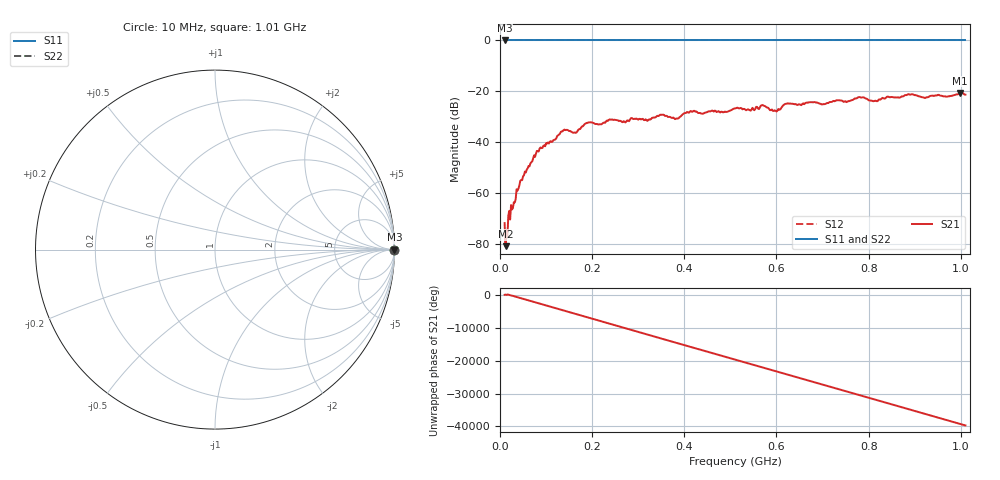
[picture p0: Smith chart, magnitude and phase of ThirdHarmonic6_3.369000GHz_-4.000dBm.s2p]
! 8/17/2025 10:40:45 AM
! C:\ANRITSUVNA\TEMP\TEMP.S2P
! CHANNEL.1
! TR.MEASUREMENT
! RAW.DATA
! RF.CORRECTION.OFF
! AVERAGING.OFF
! IF.BANDWIDTH: 5KHZ
! SWEEPTYPE:  FREQ.SWEEP(Linear)
! Reference Plane Port Info
! PORT:  PORT1  PORT2
! DISTANCE:  0  m  0  m
! TIME:  0  s  0  s
! PHASE.OFFSET:  0  deg.  0  deg.
! LOSS:  0  dB  0  dB
! REF.LOSS:  0  dB  0  dB
! REF.FREQ:  0  Hz  0  Hz
! Power Info
! POWER:  -20  dBm  -20  dBm
! EFF.POWER:  -20  dBm  -20  dBm
! SOURCE.ATTEN:  0  dB  0  dB
! TEST.ATTEN:  0  dB  0  dB
# GHZ S RI R 50.0
! FREQ.GHZ  S11RE  S11IM  S21RE  S21IM  S12RE  S12IM  S22RE  S22IM
!; PortSelection: Port_12
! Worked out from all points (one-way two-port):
!   501 points, 10 MHz to 1.01 GHz, reference 50 ohm
!   highest |S21| = -20.65 dB at 998 MHz (marker M1); lowest = -80.9 dB at 12 MHz (marker M2)
!   lowest |S11| = 0.0 dB at 10 MHz (marker M3)
!   |S11| at or under -10 dB: nowhere
!   |S22| runs from 0.0 to 0.0 dB; largest |S21 - S12| = 1.1
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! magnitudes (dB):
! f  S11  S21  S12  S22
! 10 MHz  0.0  -71.8  0.0  0.0
! 12 MHz  0.0  -80.9  0.0  0.0
! 16 MHz  0.0  -77.5  0.0  0.0
! 22 MHz  0.0  -70.4  0.0  0.0
! 30 MHz  0.0  -63.6  0.0  0.0
! 40 MHz  0.0  -58.2  0.0  0.0
! 78 MHz  0.0  -44.5  0.0  0.0
! 136 MHz  0.0  -35.7  0.0  0.0
! 162 MHz  0.0  -36.2  0.0  0.0
! 178 MHz  0.0  -33.8  0.0  0.0
! 192 MHz  0.0  -32.2  0.0  0.0
! 344 MHz  0.0  -29.7  0.0  0.0
! 384 MHz  0.0  -30.7  0.0  0.0
! 418 MHz  0.0  -28.0  0.0  0.0
! 510 MHz  0.0  -26.7  0.0  0.0
! 570 MHz  0.0  -25.4  0.0  0.0
! 598 MHz  0.0  -27.7  0.0  0.0
! 622 MHz  0.0  -24.9  0.0  0.0
! 678 MHz  0.0  -24.3  0.0  0.0
! 844 MHz  0.0  -22.2  0.0  0.0
! 998 MHz  0.0  -20.6  0.0  0.0
! 1.01 GHz  0.0  -21.3  0.0  0.0
